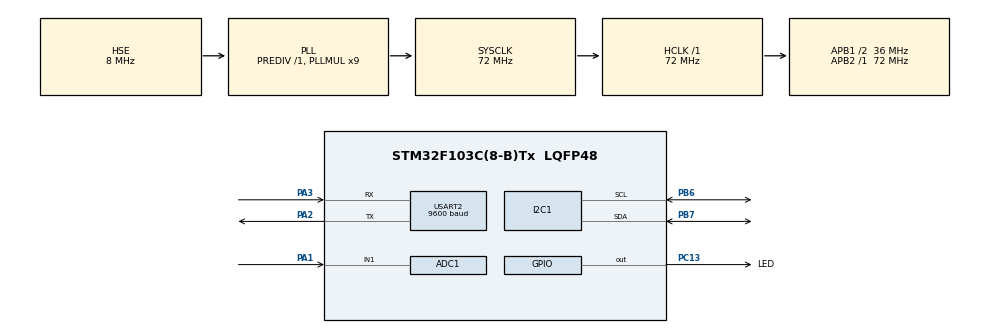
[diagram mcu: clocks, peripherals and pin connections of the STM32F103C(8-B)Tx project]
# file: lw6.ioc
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ADC1.Channel-0\#ChannelRegularConversion=ADC_CHANNEL_1
ADC1.ContinuousConvMode=ENABLE
ADC1.NbrOfConversionFlag=1
ADC1.Rank-0\#ChannelRegularConversion=1
ADC1.SamplingTime-0\#ChannelRegularConversion=ADC_SAMPLETIME_1CYCLE_5
ADC1.master=1
I2C1.I2C_Mode=I2C_Fast
Mcu.Family=STM32F1
Mcu.Name=STM32F103C(8-B)Tx
Mcu.Package=LQFP48
NVIC.PriorityGroup=NVIC_PRIORITYGROUP_4
NVIC.TIM2_IRQn=true\:0\:0\:false\:false\:true\:true\:true\:true
NVIC.USART2_IRQn=true\:0\:0\:false\:false\:true\:true\:true\:true
PA1.Signal=ADCx_IN1
PA13.Mode=Serial_Wire
PA13.Signal=SYS_JTMS-SWDIO
PA14.Mode=Serial_Wire
PA14.Signal=SYS_JTCK-SWCLK
PA2.Mode=Asynchronous
PA2.Signal=USART2_TX
PA3.Mode=Asynchronous
PA3.Signal=USART2_RX
PB6.Mode=I2C
PB6.Signal=I2C1_SCL
PB7.Mode=I2C
PB7.Signal=I2C1_SDA
PC13-TAMPER-RTC.GPIO_Label=LED
PC13-TAMPER-RTC.GPIO_PuPd=GPIO_NOPULL
PC13-TAMPER-RTC.Signal=GPIO_Output
PC14-OSC32_IN.Mode=LSE-External-Oscillator
PC14-OSC32_IN.Signal=RCC_OSC32_IN
PC15-OSC32_OUT.Mode=LSE-External-Oscillator
PC15-OSC32_OUT.Signal=RCC_OSC32_OUT
PD0-OSC_IN.Mode=HSE-External-Oscillator
PD0-OSC_IN.Signal=RCC_OSC_IN
PD1-OSC_OUT.Mode=HSE-External-Oscillator
PD1-OSC_OUT.Signal=RCC_OSC_OUT
ProjectManager.HeapSize=0x200
ProjectManager.StackSize=0x400
ProjectManager.TargetToolchain=Makefile
RCC.ADCPresc=RCC_ADCPCLK2_DIV6
RCC.AHBFreq_Value=72000000
RCC.APB1CLKDivider=RCC_HCLK_DIV2
RCC.APB1Freq_Value=36000000
RCC.APB1TimFreq_Value=72000000
RCC.APB2Freq_Value=72000000
RCC.APB2TimFreq_Value=72000000
RCC.HCLKFreq_Value=72000000
RCC.PLLMUL=RCC_PLL_MUL9
RCC.PLLSourceVirtual=RCC_PLLSOURCE_HSE
RCC.RTCClockSelection=RCC_RTCCLKSOURCE_LSE
RCC.SYSCLKFreq_VALUE=72000000
RCC.SYSCLKSource=RCC_SYSCLKSOURCE_PLLCLK
RCC.USBFreq_Value=72000000
SH.ADCx_IN1.0=ADC1_IN1,IN1
TIM2.Period=4000
TIM2.Prescaler=35999
USART2.BaudRate=9600
USART2.VirtualMode=VM_ASYNC
VP_RTC_VS_RTC_Activate.Mode=RTC_Enabled
VP_TIM2_VS_ClockSourceINT.Mode=Internal
board=custom

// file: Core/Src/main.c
/* USER CODE BEGIN Header */
/**
  ******************************************************************************
  * @file           : main.c
  * @brief          : Main program body
  ******************************************************************************
  */
/* USER CODE END Header */
#include "main.h"
#include "adc.h"
#include "i2c.h"
#include "rtc.h"
#include "tim.h"
#include "usart.h"
#include "gpio.h"

/* USER CODE BEGIN Includes */
// !!!
#include <stdio.h>
#include <string.h>
/* USER CODE END Includes */

/* USER CODE BEGIN PV */
// !!!
#define UART_BUF_SIZE 64
uint8_t rx_data;             // Байт для прийому

// Масив рядків для автоматичної відправки
char *str2[] = {
  "Test 1",
  "Test 2",
  "Test 3",
  "Test 4"
};
int LEN_STR2 = sizeof(str2) / sizeof(str2[0]);
int current_str_idx = 0;

RTC_TimeTypeDef sTime;
RTC_DateTypeDef sDate;

/* USER CODE END PV */

void SystemClock_Config(void);

int main(void)
{

  /* MCU Configuration--------------------------------------------------------*/

  /* Reset of all peripherals, Initializes the Flash interface and the Systick. */
  HAL_Init();

  /* Configure the system clock */
  SystemClock_Config();

  /* Initialize all configured peripherals */
  MX_GPIO_Init();
  MX_I2C1_Init();
  MX_TIM2_Init();
  MX_USART2_UART_Init();
  MX_RTC_Init();
  MX_ADC1_Init();

  /* Infinite loop */
  /* USER CODE BEGIN WHILE */
  // !!!
  char hello_msg[] = "UART + RTC Terminal Ready\r\n";
  HAL_UART_Transmit(&huart2, (uint8_t*)hello_msg, strlen(hello_msg), 100);
  HAL_ADCEx_Calibration_Start(&hadc1); // Калібруємо АЦП перед роботою
  HAL_ADC_Start(&hadc1);

  while (1)
  {
    // --- 1. ПРИЙОМ ДАНИХ З UART ---
    if (HAL_UART_Receive(&huart2, &rx_data, 1, 10) == HAL_OK)
    {
        HAL_UART_Transmit(&huart2, &rx_data, 1, 10); // Echo
    }

    // --- 2. БЛИМАННЯ ТА ВІДПРАВКА СТАТУСУ (кожні 500 мс) ---
    static uint32_t last_tick = 0;
    if (false && (HAL_GetTick() - last_tick >= 500))
    {
        HAL_GPIO_TogglePin(LED_GPIO_Port, LED_Pin);
        last_tick = HAL_GetTick();

        // Отримання поточного часу
        HAL_RTC_GetTime(&hrtc, &sTime, RTC_FORMAT_BIN);
        HAL_RTC_GetDate(&hrtc, &sDate, RTC_FORMAT_BIN);

        // Формування рядка для відправки: [Час] Повідомлення
        char uart_tx_buf[80];
        snprintf(uart_tx_buf, sizeof(uart_tx_buf), "[%02d:%02d:%02d] %s\r\n",
                 sTime.Hours, sTime.Minutes, sTime.Seconds, str2[current_str_idx]);

        HAL_UART_Transmit(&huart2, (uint8_t*)uart_tx_buf, strlen(uart_tx_buf), 100);

        // Перехід до наступного рядка масиву
        current_str_idx = (current_str_idx + 1) % LEN_STR2;
    }

    static uint32_t last_tick2 = 0;
    if (true && (HAL_GetTick() - last_tick2 >= 1000))
    {
        HAL_GPIO_TogglePin(LED_GPIO_Port, LED_Pin);
        last_tick2 = HAL_GetTick();

        // Отримання поточного часу
        HAL_RTC_GetTime(&hrtc, &sTime, RTC_FORMAT_BIN);
        HAL_RTC_GetDate(&hrtc, &sDate, RTC_FORMAT_BIN);
        if (HAL_ADC_PollForConversion(&hadc1, 10) == HAL_OK) // Чекаємо на реальне завершення
        {
        int raw = HAL_ADC_GetValue(&hadc1);
        float voltage_mv = (raw * 3300.0f) / 4095.0f;

        float temp = voltage_mv / 10.0f;

        int temp_int = (int)temp;
        int temp_frac = (int)((temp - temp_int) * 100); // 2 знаки після коми

        char uart_tx_buf[30];
        snprintf(uart_tx_buf, sizeof(uart_tx_buf), "[%02d:%02d:%02d] t=%d.%d°C\r\n",
                 sTime.Hours, sTime.Minutes, sTime.Seconds,
                 temp_int, temp_frac
                );

        HAL_UART_Transmit(&huart2, (uint8_t*)uart_tx_buf, strlen(uart_tx_buf), 100);

        char deb[25]={0};
        snprintf(deb, sizeof(deb), "DEBUG adc=%d mV=%d\r\n", raw, (int)voltage_mv);
        HAL_UART_Transmit(&huart2, (uint8_t*)deb, strlen(deb), 100);
        }
    }

    /* USER CODE END WHILE */

  }
}

void SystemClock_Config(void)
{
  RCC_OscInitTypeDef RCC_OscInitStruct = {0};
  RCC_ClkInitTypeDef RCC_ClkInitStruct = {0};
  RCC_PeriphCLKInitTypeDef PeriphClkInit = {0};

  /** Initializes the RCC Oscillators according to the specified parameters
  * in the RCC_OscInitTypeDef structure.
  */
  RCC_OscInitStruct.OscillatorType = RCC_OSCILLATORTYPE_HSE|RCC_OSCILLATORTYPE_LSE;
  RCC_OscInitStruct.HSEState = RCC_HSE_ON;
  RCC_OscInitStruct.HSEPredivValue = RCC_HSE_PREDIV_DIV1;
  RCC_OscInitStruct.LSEState = RCC_LSE_ON;
  RCC_OscInitStruct.HSIState = RCC_HSI_ON;
  RCC_OscInitStruct.PLL.PLLState = RCC_PLL_ON;
  RCC_OscInitStruct.PLL.PLLSource = RCC_PLLSOURCE_HSE;
  RCC_OscInitStruct.PLL.PLLMUL = RCC_PLL_MUL9;
  if (HAL_RCC_OscConfig(&RCC_OscInitStruct) != HAL_OK)
  {
    Error_Handler();
  }

  /** Initializes the CPU, AHB and APB buses clocks
  */
  RCC_ClkInitStruct.ClockType = RCC_CLOCKTYPE_HCLK|RCC_CLOCKTYPE_SYSCLK
                              |RCC_CLOCKTYPE_PCLK1|RCC_CLOCKTYPE_PCLK2;
  RCC_ClkInitStruct.SYSCLKSource = RCC_SYSCLKSOURCE_PLLCLK;
  RCC_ClkInitStruct.AHBCLKDivider = RCC_SYSCLK_DIV1;
  RCC_ClkInitStruct.APB1CLKDivider = RCC_HCLK_DIV2;
  RCC_ClkInitStruct.APB2CLKDivider = RCC_HCLK_DIV1;

  if (HAL_RCC_ClockConfig(&RCC_ClkInitStruct, FLASH_LATENCY_2) != HAL_OK)
  {
    Error_Handler();
  }
  PeriphClkInit.PeriphClockSelection = RCC_PERIPHCLK_RTC|RCC_PERIPHCLK_ADC;
  PeriphClkInit.RTCClockSelection = RCC_RTCCLKSOURCE_LSE;
  PeriphClkInit.AdcClockSelection = RCC_ADCPCLK2_DIV6;
  if (HAL_RCCEx_PeriphCLKConfig(&PeriphClkInit) != HAL_OK)
  {
    Error_Handler();
  }
}

void Error_Handler(void)
{
  __disable_irq();
  while (1)
  {
  }
}
